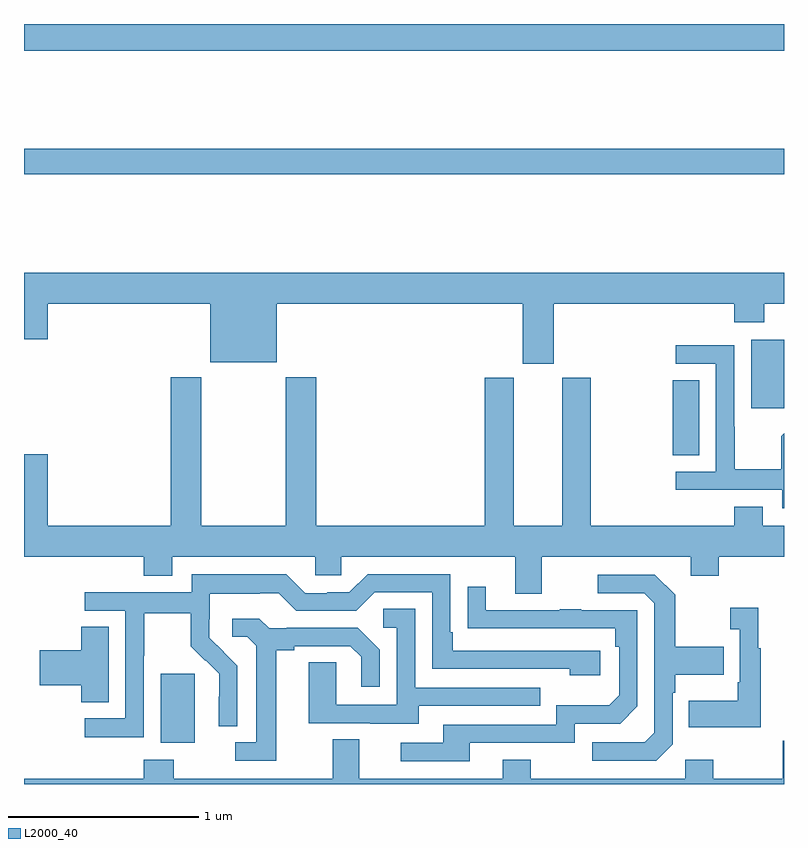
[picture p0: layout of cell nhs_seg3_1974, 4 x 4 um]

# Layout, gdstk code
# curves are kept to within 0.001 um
import gdstk
lib = gdstk.Library(unit=1e-6, precision=1e-09)
def R(c, l, rs):  # rectangles x0, y0, x1, y1
    for r in rs: c.add(gdstk.rectangle(r[:2], r[2:], *l))
def P(c, l, *ps):  # polygons
    for p in ps: c.add(gdstk.Polygon(p, *l))
L2000_40 = (2000, 40)

nhs_seg3_1974 = lib.new_cell('nhs_seg3_1974')
R(nhs_seg3_1974, L2000_40, [(213.719,686.618,213.898,686.979), (216.415,688.129,216.553,688.526), (216.827,688.377,217,688.738), (213,689.608,217,689.744), (213,690.26,217,690.4)])
P(nhs_seg3_1974, L2000_40, [(215.788,688.928),(216.737,688.928),(216.737,688.829),(216.897,688.829),(216.897,688.928),(217,688.928),(217,689.092),(213,689.092),(213,688.74),(213.124,688.74),(213.124,688.928),(213.98,688.928),(213.98,688.619),(214.33,688.619),(214.33,688.928),(215.624,688.928),(215.624,688.611),(215.788,688.611)],
  [(217,688.246),(216.985,688.231),(216.985,688.057),(216.741,688.057),(216.741,688.28),(216.738,688.28),(216.738,688.71),(216.429,688.71),(216.429,688.611),(216.642,688.611),(216.642,688.044),(216.429,688.044),(216.429,687.948),(216.99,687.948),(216.99,687.851),(217,687.851)],
  [(215.725,687.596),(216.509,687.596),(216.509,687.497),(216.657,687.497),(216.657,687.596),(217,687.596),(217,687.76),(216.889,687.76),(216.889,687.859),(216.737,687.859),(216.737,687.76),(215.982,687.76),(215.982,688.539),(215.834,688.539),(215.834,687.76),(215.578,687.76),(215.578,688.539),(215.426,688.539),(215.426,687.76),(214.538,687.76),(214.538,688.54),(214.378,688.54),(214.378,687.76),(213.933,687.76),(213.933,688.54),(213.773,688.54),(213.773,687.76),(213.124,687.76),(213.124,688.135),(213,688.135),(213,687.596),(213.629,687.596),(213.629,687.497),(213.781,687.497),(213.781,687.596),(214.533,687.596),(214.533,687.498),(214.671,687.498),(214.671,687.596),(215.585,687.596),(215.585,687.402),(215.725,687.402)],
  [(213.63,687.076),(213.633,687.076),(213.633,687.3),(213.877,687.3),(213.877,687.125),(213.954,687.048),(213.957,687.051),(214.028,686.981),(214.028,686.858),(214.026,686.858),(214.026,686.704),(214.122,686.704),(214.122,687.022),(213.976,687.17),(213.976,687.267),(213.978,687.267),(213.978,687.401),(214.241,687.401),(214.241,687.405),(214.341,687.405),(214.434,687.312),(214.749,687.312),(214.845,687.408),(215.148,687.408),(215.148,687.006),(215.873,687.006),(215.873,686.972),(216.034,686.972),(216.034,687.102),(215.257,687.102),(215.257,687.199),(215.244,687.199),(215.244,687.504),(214.809,687.504),(214.713,687.408),(214.595,687.408),(214.595,687.405),(214.479,687.405),(214.379,687.505),(213.882,687.505),(213.882,687.408),(213.321,687.408),(213.321,687.312),(213.534,687.312),(213.534,686.745),(213.321,686.745),(213.321,686.647),(213.63,686.647)],
  [(216.414,686.61),(216.414,686.879),(216.427,686.879),(216.427,686.975),(216.683,686.975),(216.683,687.123),(216.427,687.123),(216.427,687.395),(216.321,687.501),(216.021,687.501),(216.021,687.405),(216.264,687.405),(216.318,687.351),(216.318,686.67),(216.267,686.619),(215.991,686.619),(215.991,686.523),(216.327,686.523)],
  [(215.347,686.616),(215.898,686.616),(215.898,686.718),(216.138,686.718),(216.228,686.808),(216.228,687.315),(215.933,687.315),(215.933,687.32),(215.821,687.32),(215.821,687.315),(215.431,687.315),(215.431,687.439),(215.335,687.439),(215.335,687.22),(216.112,687.219),(216.112,687.122),(216.132,687.122),(216.132,686.868),(216.079,686.815),(215.802,686.815),(215.802,686.712),(215.207,686.712),(215.207,686.616),(214.983,686.616),(214.983,686.52),(215.347,686.52)],
  [(216.877,687.115),(216.865,687.115),(216.865,687.328),(216.717,687.328),(216.717,687.215),(216.768,687.215),(216.768,686.935),(216.756,686.935),(216.756,686.839),(216.499,686.839),(216.499,686.699),(216.877,686.699)],
  [(215.077,686.811),(215.717,686.811),(215.717,686.907),(215.058,686.907),(215.058,687.323),(214.89,687.323),(214.89,687.222),(214.962,687.222),(214.962,686.817),(214.644,686.817),(214.644,687.041),(214.499,687.041),(214.499,686.721),(214.823,686.721),(214.823,686.717),(215.077,686.717)],
  [(214.327,687.104),(214.423,687.104),(214.423,687.126),(214.718,687.126),(214.775,687.069),(214.775,686.913),(214.872,686.913),(214.872,687.106),(214.756,687.222),(214.384,687.222),(214.384,687.219),(214.29,687.219),(214.238,687.271),(214.095,687.271),(214.095,687.174),(214.176,687.174),(214.223,687.127),(214.223,686.619),(214.113,686.619),(214.113,686.523),(214.327,686.523)],
  [(213.445,687.227),(213.302,687.227),(213.302,687.104),(213.084,687.104),(213.084,686.921),(213.302,686.921),(213.302,686.83),(213.445,686.83)],
  [(217,686.627),(216.994,686.627),(216.994,686.428),(216.627,686.428),(216.627,686.527),(216.48,686.527),(216.48,686.428),(215.667,686.428),(215.667,686.527),(215.519,686.527),(215.519,686.428),(214.765,686.428),(214.765,686.636),(214.625,686.636),(214.625,686.428),(213.789,686.428),(213.789,686.527),(213.629,686.527),(213.629,686.428),(213,686.428),(213,686.4),(217,686.4)])

lib.write_gds('nhs_seg3_1974.gds')
